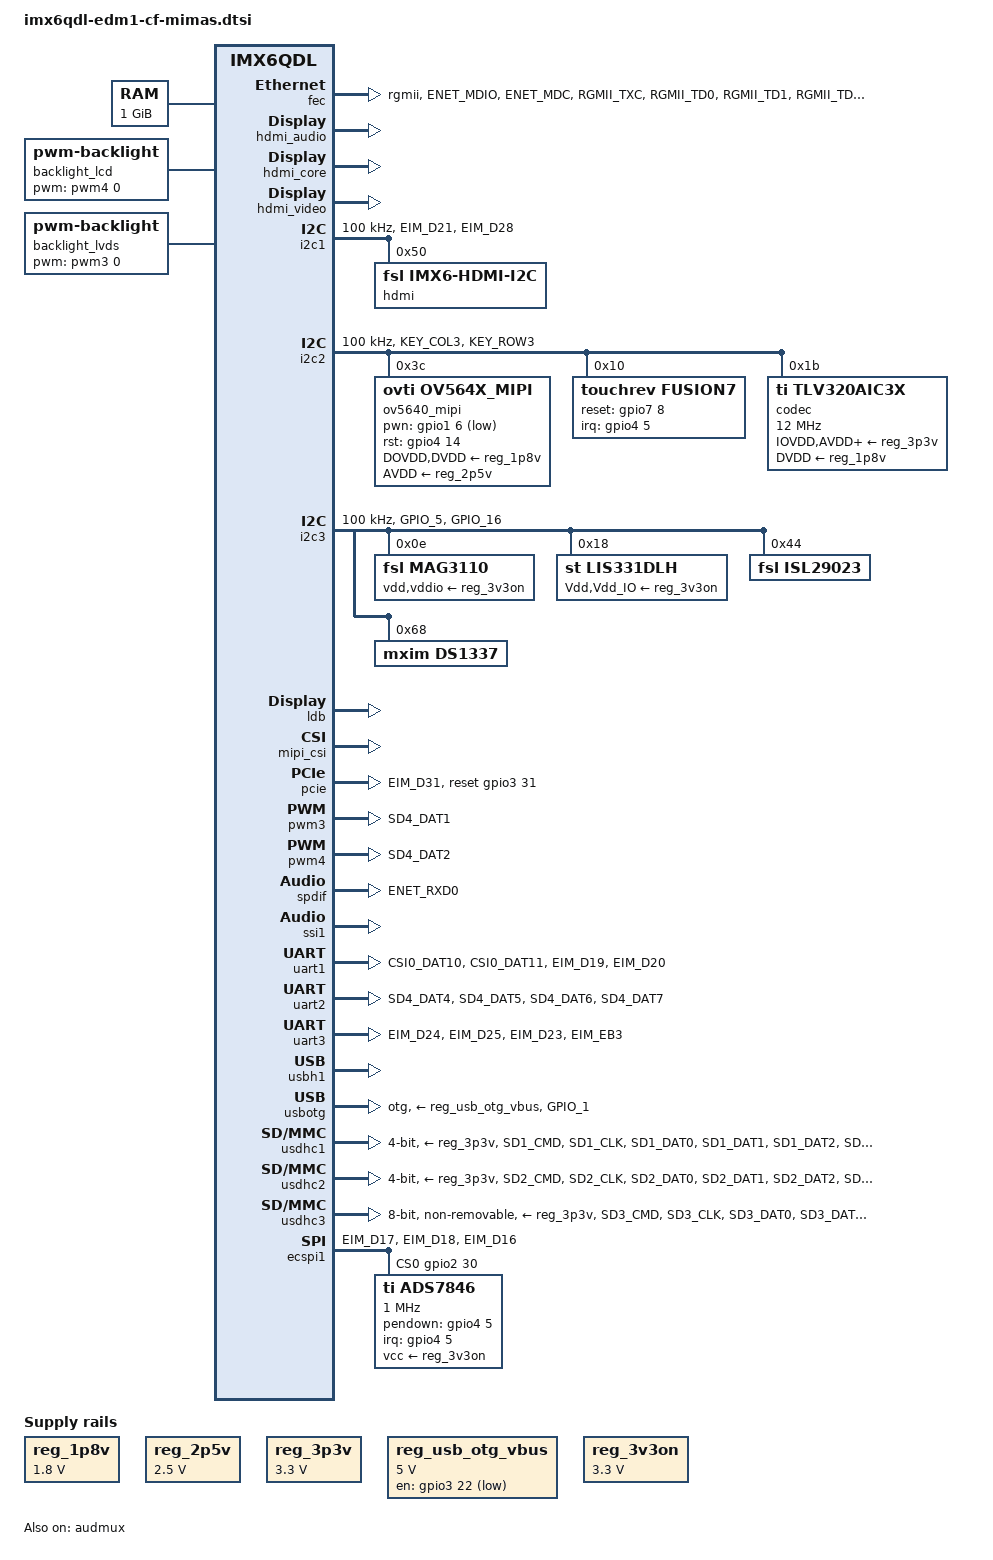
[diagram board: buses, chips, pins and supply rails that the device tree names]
/*
 * Copyright 2015 Technexion Ltd.
 *
 * Author: Richard Hu <richard.hu@technexion.com>
 *
 * This program is free software; you can redistribute it and/or modify
 * it under the terms of the GNU General Public License version 2 as
 * published by the Free Software Foundation.
 *
 */

/ {
	aliases {
		mxcfb0 = &mxcfb1;
		mxcfb1 = &mxcfb2;
		mxcfb2 = &mxcfb3;
		mxcfb3 = &mxcfb4;
	};

	memory {
		reg = <0x10000000 0x40000000>;
	};

	regulators {
		compatible = "simple-bus";

		reg_1p8v: 1p8v {
			compatible = "regulator-fixed";
			regulator-name = "1P8V";
			regulator-min-microvolt = <1800000>;
			regulator-max-microvolt = <1800000>;
			regulator-always-on;
		};

		reg_2p5v: 2p5v {
			compatible = "regulator-fixed";
			regulator-name = "2P5V";
			regulator-min-microvolt = <2500000>;
			regulator-max-microvolt = <2500000>;
			regulator-always-on;
		};

		reg_3p3v: 3p3v {
			compatible = "regulator-fixed";
			regulator-name = "3P3V";
			regulator-min-microvolt = <3300000>;
			regulator-max-microvolt = <3300000>;
			regulator-always-on;
		};

		reg_usb_otg_vbus: usb_otg_vbus {
			compatible = "regulator-fixed";
			regulator-name = "usb_otg_vbus";
			regulator-min-microvolt = <5000000>;
			regulator-max-microvolt = <5000000>;
			gpio = <&gpio3 22 0>;
		};
		
		reg_3v3on: regulator@0 {
			compatible = "regulator-fixed";
			regulator-name = "3V3ON";
			regulator-min-microvolt = <3300000>;
			regulator-max-microvolt = <3300000>;
			regulator-always-on;
		};
	};

	gpio-edm {
		compatible = "gpio-edm";
		gpio_p255 {
			label = "GPIO_P255";
			gpios = <&gpio3 12 1>;
			dir   = "in";
		};
		gpio_p256 {
			label = "GPIO_P256";
			gpios = <&gpio3 11 1>;
			dir   = "in";
		};
		gpio_p257 {
			label = "GPIO_P257";
			gpios = <&gpio3 10 1>;
			dir   = "in";
		};
		gpio_p258 {
			label = "GPIO_P258";
			gpios = <&gpio3 27 1>;
			dir   = "in";
		};
		gpio_p259 {
			label = "GPIO_P259";
			gpios = <&gpio3 26 1>;
			dir   = "in";
		};
		gpio_p260 {
			label = "GPIO_P260";
			gpios = <&gpio6 31 1>;
			dir   = "in";
		};
		gpio_p261 {
			label = "GPIO_P261";
			gpios = <&gpio3 8 1>;
			dir   = "in";
		};
		gpio_p262 {
			label = "GPIO_P262";
			gpios = <&gpio1 24 1>;
			dir   = "in";
		};
		gpio_p263 {
			label = "GPIO_P263";
			gpios = <&gpio4 5 1>;
			dir   = "in";
		};
		gpio_p264 {
			label = "GPIO_P264";
			gpios = <&gpio7 8 1>;
			dir   = "in";
		};

		bluetooth-on {
			label = "bluetooth-on";
			gpios = <&gpio5 21 1>;
			dir   = "out";
		};
		bluetooth-reg-on {
			label = "bluetooth-reg-on";
			gpios = <&gpio5 30 1>;
			dir   = "out";
		};
		bluetooth-wake {
			label = "bluetooth-wake";
			gpios = <&gpio1 30 1>;
			dir   = "in";
		};
		bluetooth-host-wake {
			label = "bluetooth-host-wake";
			gpios = <&gpio5 20 1>;
			dir   = "in";
		};

		wifi-ref-on {
			label = "wifi-ref-on";
			gpios = <&gpio5 31 1>;
			dir   = "out";
		};
		wifi-rst-n {
			label = "wifi-rst-n";
			gpios = <&gpio6 0 1>;
			dir   = "out";
		};
		wifi-reg-on {
			label = "wifi-reg-on";
			gpios = <&gpio1 26 1>;
			dir   = "out";
		};
		wifi-host-wake {
			label = "wifi-host-wake";
			gpios = <&gpio1 29 1>;
			dir   = "in";
		};
	};

	sound {
		compatible = "fsl,imx-audio-tlv320aic3x";
		model = "edm1-cf-imx6-tlv320aic3x";
		cpu-dai = <&ssi1>;
		audio-codec = <&codec>;
		clock-frequency = <12000000>;
		audio-routing =
			"Headphone Jack", "HPLOUT",
			"Headphone Jack", "HPROUT",
			"MIC3L", "Mic Bias 2V",
			"MIC3R", "Mic Bias 2V",
			"LINE1L", "Line In",
			"LINE1R", "Line In";
		mux-int-port = <1>;
		mux-ext-port = <3>;
	};
	
	sound-spdif {
                compatible = "fsl,imx-audio-spdif";
                model = "imx-spdif";
                spdif-controller = <&spdif>;
                spdif-out;
        };

	sound-hdmi {
		compatible = "fsl,imx6q-audio-hdmi",
			     "fsl,imx-audio-hdmi";
		model = "imx-audio-hdmi";
		hdmi-controller = <&hdmi_audio>;
	};

	mxcfb1: fb@0 {
		compatible = "fsl,mxc_sdc_fb";
		disp_dev = "hdmi";
		interface_pix_fmt = "RGB24";
		mode_str ="1920x1080M@60";
		default_bpp = <32>;
		int_clk = <0>;
		late_init = <0>;
		status = "disabled";
	};

	mxcfb2: fb@1 {
		compatible = "fsl,mxc_sdc_fb";
		disp_dev = "ldb";
		interface_pix_fmt = "RGB666";
		default_bpp = <24>;
		int_clk = <0>;
		late_init = <0>;
		status = "disabled";
	};

	mxcfb3: fb@2 {
		compatible = "fsl,mxc_sdc_fb";
		disp_dev = "lcd";
		interface_pix_fmt = "RGB565";
		mode_str ="CLAA-WVGA";
		default_bpp = <16>;
		int_clk = <0>;
		late_init = <0>;
		status = "disabled";
	};

	mxcfb4: fb@3 {
		compatible = "fsl,mxc_sdc_fb";
		disp_dev = "ldb";
		interface_pix_fmt = "RGB666";
		mode_str ="LDB-XGA";
		default_bpp = <16>;
		int_clk = <0>;
		late_init = <0>;
		status = "disabled";
	};

	lcd@0 {
		compatible = "fsl,lcd";
		ipu_id = <0>;
		disp_id = <0>;
		default_ifmt = "RGB565";
		pinctrl-names = "default";
		pinctrl-0 = <&pinctrl_ipu1_1>;
		status = "okay";
	};

	backlight_lcd {
		compatible = "pwm-backlight";
		pwms = <&pwm4 0 5000000>;
		brightness-levels = <0 4 8 16 32 64 128 255>;
		default-brightness-level = <7>;
	};

	backlight_lvds {
		compatible = "pwm-backlight";
		pwms = <&pwm3 0 5000000>;
		brightness-levels = <0 4 8 16 32 64 128 255>;
		default-brightness-level = <7>;
	};

	v4l2_cap_0 {
		compatible = "fsl,imx6q-v4l2-capture";
		ipu_id = <0>;
		csi_id = <0>;
		mclk_source = <0>;
		status = "okay";
	};

	v4l2_out {
		compatible = "fsl,mxc_v4l2_output";
		status = "okay";
	};

};


&audmux {
	pinctrl-names = "default";
	pinctrl-0 = <&pinctrl_audmux_2>;
	status = "okay";
};


&clks {
    fsl,ldb-di0-parent = <&clks IMX6QDL_CLK_PLL2_PFD0_352M>;
    fsl,ldb-di1-parent = <&clks IMX6QDL_CLK_PLL2_PFD0_352M>;
};

&fec {
	pinctrl-names = "default";
	pinctrl-0 = <&pinctrl_enet_3>;
	phy-mode = "rgmii";
	status = "okay";
};

&hdmi_audio {
	status = "okay";
};

&hdmi_core {
	ipu_id = <0>;
	disp_id = <0>;
	status = "okay";
};

&hdmi_video {
	fsl,phy_reg_vlev = <0x0294>;
	fsl,phy_reg_cksymtx = <0x800d>;
	status = "okay";
};

&i2c1 {
	clock-frequency = <100000>;
	pinctrl-names = "default";
	pinctrl-0 = <&pinctrl_i2c1_1>;
	status = "okay";

	hdmi: edid@50 {
		compatible = "fsl,imx6-hdmi-i2c";
		reg = <0x50>;
	};

};

&i2c2 {
	clock-frequency = <100000>;
	pinctrl-names = "default";
	pinctrl-0 = <&pinctrl_i2c2_2>;
	status = "okay";

	ov5640_mipi: ov5640_mipi@3c {
		compatible = "ovti,ov564x_mipi";
		reg = <0x3c>;
		clocks = <&clks 200>;
		clock-names = "csi_mclk";
		DOVDD-supply = <&reg_1p8v>;
		AVDD-supply = <&reg_2p5v>;
		DVDD-supply = <&reg_1p8v>;
		pwn-gpios = <&gpio1 6 1>;
		rst-gpios = <&gpio4 14 0>;
		ipu_id = <0>;
		csi_id = <0>;
		mclk = <24000000>;
		mclk_source = <0>;
	};

	fusion7: fusion7@10 {
		compatible = "touchrev,fusion7";
		reg = <0x10>; /* The reg property describes the address of the device's resources within the address space defined by its parent bus.  */
		pinctrl-0 = <&pinctrl_gpio>;
		pinctrl-names = "default";
		interrupt-parent = <&gpio4>;
		interrupts = <5 0>;
		reset-gpios=<&gpio7 8 0>; /*pin264  SD3_RST GPIO(7, 8)   gpio200   Touchscreen Reset  Output*/
		touch_xmax=<1499>;
		touch_ymax=<899>;
		flip_x=<0>;
		flip_y=<0>;
	};
	
	codec: tlv320aic3x@1b {
		compatible = "ti,tlv320aic3x";
		reg = <0x1b>;
		clocks = <&clks 201>;
		clock-frequency = <12000000>;
		IOVDD-supply = <&reg_3p3v>;
		DVDD-supply = <&reg_1p8v>;
		AVDD-supply = <&reg_3p3v>;
		DRVDD-supply = <&reg_3p3v>;
	};

};

&i2c3 {
		clock-frequency = <100000>;
		pinctrl-names = "default";
		pinctrl-0 = <&pinctrl_i2c3_3>;
		status = "okay";

		mag3110@0e {
			compatible = "fsl,mag3110";
			reg = <0x0e>;
			position = <2>;
			vdd-supply = <&reg_3v3on>;
			vddio-supply = <&reg_3v3on>;
		};

		lis331dlh: lis331dlh@18 {
			compatible = "st,lis331dlh", "st,lis3lv02d";
			reg = <0x18>;
			Vdd-supply = <&reg_3v3on>;
			Vdd_IO-supply = <&reg_3v3on>;

			st,click-single-x;
			st,click-single-y;
			st,click-single-z;
			st,click-thresh-x = <10>;
			st,click-thresh-y = <10>;
			st,click-thresh-z = <10>;
			st,irq1-click;
			st,irq2-click;
			st,wakeup-x-lo;
			st,wakeup-x-hi;
			st,wakeup-y-lo;
			st,wakeup-y-hi;
			st,wakeup-z-lo;
			st,wakeup-z-hi;
			st,min-limit-x = <120>;
			st,min-limit-y = <120>;
			st,min-limit-z = <140>;
			st,max-limit-x = <550>;
			st,max-limit-y = <550>;
			st,max-limit-z = <750>;
		};

		isl29023@44 {
			compatible = "fsl,isl29023";
			reg = <0x44>;
			rext = <499>;
			};

		ds1337: rtc@68 {
			compatible = "mxim,ds1337";
			reg = <0x68>;
		};

};

/*
For reference here, the PAD_CTL bitfield definition from
Documentation/devicetree/bindings/pinctrl/fsl,imx6q-pinctrl.txt

CONFIG bits definition:
PAD_CTL_HYS                     (1 << 16)
PAD_CTL_PUS_100K_DOWN           (0 << 14)
PAD_CTL_PUS_47K_UP              (1 << 14)
PAD_CTL_PUS_100K_UP             (2 << 14)
PAD_CTL_PUS_22K_UP              (3 << 14)
PAD_CTL_PUE                     (1 << 13)
PAD_CTL_PKE                     (1 << 12)
PAD_CTL_ODE                     (1 << 11)
PAD_CTL_SPEED_LOW               (1 << 6)
PAD_CTL_SPEED_MED               (2 << 6)
PAD_CTL_SPEED_HIGH              (3 << 6)
PAD_CTL_DSE_DISABLE             (0 << 3)
PAD_CTL_DSE_240ohm              (1 << 3)
PAD_CTL_DSE_120ohm              (2 << 3)
PAD_CTL_DSE_80ohm               (3 << 3)
PAD_CTL_DSE_60ohm               (4 << 3)
PAD_CTL_DSE_48ohm               (5 << 3)
PAD_CTL_DSE_40ohm               (6 << 3)
PAD_CTL_DSE_34ohm               (7 << 3)
PAD_CTL_SRE_FAST                (1 << 0)
PAD_CTL_SRE_SLOW                (0 << 0)

Example, the Control Pad Setting

    0x0f0b0

corresponds to:

   0b1111000010110000

which is:

   PAD_CTL_PUS_22K_UP | PAD_CTL_PUE | PAD_CTL_PKE |
   PAD_CTL_SPEED_MED | PAD_CTL_DSE_40ohm

For more information about this, refer to the IOMUXC section of the i.MX6
reference manual.

*/

&iomuxc {

	pinctrl-names = "default";
	pinctrl-0 = <&pinctrl_hog_1>;

	audmux {
		pinctrl_audmux_1: audmux-1 {
			fsl,pins = <
				MX6QDL_PAD_SD2_DAT0__AUD4_RXD  0x130b0
				MX6QDL_PAD_SD2_DAT3__AUD4_TXC  0x130b0
				MX6QDL_PAD_SD2_DAT2__AUD4_TXD  0x110b0
				MX6QDL_PAD_SD2_DAT1__AUD4_TXFS 0x130b0
			>;
		};

		pinctrl_audmux_2: audmux-2 {
			fsl,pins = <
				MX6QDL_PAD_CSI0_DAT7__AUD3_RXD  0x130b0
				MX6QDL_PAD_CSI0_DAT4__AUD3_TXC  0x130b0
				MX6QDL_PAD_CSI0_DAT5__AUD3_TXD  0x110b0
				MX6QDL_PAD_CSI0_DAT6__AUD3_TXFS 0x130b0
			>;
		};

		pinctrl_audmux_3: audmux-3 {
			fsl,pins = <
				MX6QDL_PAD_DISP0_DAT16__AUD5_TXC  0x130b0
				MX6QDL_PAD_DISP0_DAT18__AUD5_TXFS 0x130b0
				MX6QDL_PAD_DISP0_DAT19__AUD5_RXD  0x130b0
			>;
		};
	};

	ecspi1 {
		pinctrl_ecspi1_cs_1: ecspi1_cs_grp-1 {
			fsl,pins = <
				MX6QDL_PAD_EIM_D19__GPIO3_IO19 0x80000000
			>;
		};

		pinctrl_ecspi1_1: ecspi1grp-1 {
			fsl,pins = <
				MX6QDL_PAD_EIM_D17__ECSPI1_MISO 0x100b1
				MX6QDL_PAD_EIM_D18__ECSPI1_MOSI 0x100b1
				MX6QDL_PAD_EIM_D16__ECSPI1_SCLK 0x100b1
			>;
		};

		pinctrl_ecspi1_2: ecspi1grp-2 {
			fsl,pins = <
				MX6QDL_PAD_KEY_COL1__ECSPI1_MISO 0x100b1
				MX6QDL_PAD_KEY_ROW0__ECSPI1_MOSI 0x100b1
				MX6QDL_PAD_KEY_COL0__ECSPI1_SCLK 0x100b1
			>;
		};
	};

	ecspi3 {
		pinctrl_ecspi3_1: ecspi3grp-1 {
			fsl,pins = <
				MX6QDL_PAD_DISP0_DAT2__ECSPI3_MISO 0x100b1
				MX6QDL_PAD_DISP0_DAT1__ECSPI3_MOSI 0x100b1
				MX6QDL_PAD_DISP0_DAT0__ECSPI3_SCLK 0x100b1
			>;
		};
	};

	enet {
		pinctrl_enet_1: enetgrp-1 {
			fsl,pins = <
				MX6QDL_PAD_ENET_MDIO__ENET_MDIO       0x1b0b0
				MX6QDL_PAD_ENET_MDC__ENET_MDC         0x1b0b0
				MX6QDL_PAD_RGMII_TXC__RGMII_TXC       0x1b0b0
				MX6QDL_PAD_RGMII_TD0__RGMII_TD0       0x1b0b0
				MX6QDL_PAD_RGMII_TD1__RGMII_TD1       0x1b0b0
				MX6QDL_PAD_RGMII_TD2__RGMII_TD2       0x1b0b0
				MX6QDL_PAD_RGMII_TD3__RGMII_TD3       0x1b0b0
				MX6QDL_PAD_RGMII_TX_CTL__RGMII_TX_CTL 0x1b0b0
				MX6QDL_PAD_ENET_REF_CLK__ENET_TX_CLK  0x1b0b0
				MX6QDL_PAD_RGMII_RXC__RGMII_RXC       0x1b0b0
				MX6QDL_PAD_RGMII_RD0__RGMII_RD0       0x1b0b0
				MX6QDL_PAD_RGMII_RD1__RGMII_RD1       0x1b0b0
				MX6QDL_PAD_RGMII_RD2__RGMII_RD2       0x1b0b0
				MX6QDL_PAD_RGMII_RD3__RGMII_RD3       0x1b0b0
				MX6QDL_PAD_RGMII_RX_CTL__RGMII_RX_CTL 0x1b0b0
				MX6QDL_PAD_GPIO_16__ENET_REF_CLK      0x4001b0a8
			>;
		};

		pinctrl_enet_2: enetgrp-2 {
			fsl,pins = <
				MX6QDL_PAD_KEY_COL1__ENET_MDIO        0x1b0b0
				MX6QDL_PAD_KEY_COL2__ENET_MDC         0x1b0b0
				MX6QDL_PAD_RGMII_TXC__RGMII_TXC       0x1b0b0
				MX6QDL_PAD_RGMII_TD0__RGMII_TD0       0x1b0b0
				MX6QDL_PAD_RGMII_TD1__RGMII_TD1       0x1b0b0
				MX6QDL_PAD_RGMII_TD2__RGMII_TD2       0x1b0b0
				MX6QDL_PAD_RGMII_TD3__RGMII_TD3       0x1b0b0
				MX6QDL_PAD_RGMII_TX_CTL__RGMII_TX_CTL 0x1b0b0
				MX6QDL_PAD_ENET_REF_CLK__ENET_TX_CLK  0x1b0b0
				MX6QDL_PAD_RGMII_RXC__RGMII_RXC       0x1b0b0
				MX6QDL_PAD_RGMII_RD0__RGMII_RD0       0x1b0b0
				MX6QDL_PAD_RGMII_RD1__RGMII_RD1       0x1b0b0
				MX6QDL_PAD_RGMII_RD2__RGMII_RD2       0x1b0b0
				MX6QDL_PAD_RGMII_RD3__RGMII_RD3       0x1b0b0
				MX6QDL_PAD_RGMII_RX_CTL__RGMII_RX_CTL 0x1b0b0
				MX6QDL_PAD_GPIO_16__ENET_REF_CLK      0x4001b0a8
			>;
		};

		pinctrl_enet_3: enetgrp-3 {
			fsl,pins = <
				MX6QDL_PAD_ENET_MDIO__ENET_MDIO       0x1b0b0
				MX6QDL_PAD_ENET_MDC__ENET_MDC         0x1b0b0
				MX6QDL_PAD_RGMII_TXC__RGMII_TXC       0x1b0b0
				MX6QDL_PAD_RGMII_TD0__RGMII_TD0       0x1b0b0
				MX6QDL_PAD_RGMII_TD1__RGMII_TD1       0x1b0b0
				MX6QDL_PAD_RGMII_TD2__RGMII_TD2       0x1b0b0
				MX6QDL_PAD_RGMII_TD3__RGMII_TD3       0x1b0b0
				MX6QDL_PAD_RGMII_TX_CTL__RGMII_TX_CTL 0x1b0b0
				MX6QDL_PAD_ENET_REF_CLK__ENET_TX_CLK  0x1b0b0
				MX6QDL_PAD_RGMII_RXC__RGMII_RXC       0x1b0b0
				MX6QDL_PAD_RGMII_RD0__RGMII_RD0       0x1b0b0
				MX6QDL_PAD_RGMII_RD1__RGMII_RD1       0x1b0b0
				MX6QDL_PAD_RGMII_RD2__RGMII_RD2       0x1b0b0
				MX6QDL_PAD_RGMII_RD3__RGMII_RD3       0x1b0b0
				MX6QDL_PAD_RGMII_RX_CTL__RGMII_RX_CTL 0x1b0b0
				MX6QDL_PAD_ENET_TX_EN__ENET_TX_EN     0x1b0b0
			>;
		};

		pinctrl_enet_irq: enetirqgrp {
			fsl,pins = <
				MX6QDL_PAD_GPIO_6__ENET_IRQ	      0x000b1
			>;
		};
	};

	esai {
		pinctrl_esai_1: esaigrp-1 {
			fsl,pins = <
				MX6QDL_PAD_ENET_RXD0__ESAI_TX_HF_CLK 0x1b030
				MX6QDL_PAD_ENET_CRS_DV__ESAI_TX_CLK  0x1b030
				MX6QDL_PAD_ENET_RXD1__ESAI_TX_FS     0x1b030
				MX6QDL_PAD_ENET_TX_EN__ESAI_TX3_RX2  0x1b030
				MX6QDL_PAD_ENET_TXD1__ESAI_TX2_RX3   0x1b030
				MX6QDL_PAD_ENET_TXD0__ESAI_TX4_RX1   0x1b030
				MX6QDL_PAD_ENET_MDC__ESAI_TX5_RX0    0x1b030
				MX6QDL_PAD_NANDF_CS2__ESAI_TX0       0x1b030
				MX6QDL_PAD_NANDF_CS3__ESAI_TX1       0x1b030
			>;
		};

		pinctrl_esai_2: esaigrp-2 {
			fsl,pins = <
				MX6QDL_PAD_ENET_CRS_DV__ESAI_TX_CLK 0x1b030
				MX6QDL_PAD_ENET_RXD1__ESAI_TX_FS    0x1b030
				MX6QDL_PAD_ENET_TX_EN__ESAI_TX3_RX2 0x1b030
				MX6QDL_PAD_GPIO_5__ESAI_TX2_RX3     0x1b030
				MX6QDL_PAD_ENET_TXD0__ESAI_TX4_RX1  0x1b030
				MX6QDL_PAD_ENET_MDC__ESAI_TX5_RX0   0x1b030
				MX6QDL_PAD_GPIO_17__ESAI_TX0        0x1b030
				MX6QDL_PAD_NANDF_CS3__ESAI_TX1      0x1b030
				MX6QDL_PAD_ENET_MDIO__ESAI_RX_CLK   0x1b030
				MX6QDL_PAD_GPIO_9__ESAI_RX_FS       0x1b030
			>;
		};
	};

	flexcan1 {
		pinctrl_flexcan1_1: flexcan1grp-1 {
			fsl,pins = <
				MX6QDL_PAD_KEY_ROW2__FLEXCAN1_RX 0x80000000
				MX6QDL_PAD_KEY_COL2__FLEXCAN1_TX 0x80000000
			>;
		};

		pinctrl_flexcan1_2: flexcan1grp-2 {
			fsl,pins = <
				MX6QDL_PAD_GPIO_7__FLEXCAN1_TX   0x80000000
				MX6QDL_PAD_KEY_ROW2__FLEXCAN1_RX 0x80000000
			>;
		};
	};

	flexcan2 {
		pinctrl_flexcan2_1: flexcan2grp-1 {
			fsl,pins = <
				MX6QDL_PAD_KEY_COL4__FLEXCAN2_TX 0x80000000
				MX6QDL_PAD_KEY_ROW4__FLEXCAN2_RX 0x80000000
			>;
		};
	};

	gpmi-nand {
		pinctrl_gpmi_nand_1: gpmi-nand-1 {
			fsl,pins = <
				MX6QDL_PAD_NANDF_CLE__NAND_CLE     0xb0b1
				MX6QDL_PAD_NANDF_ALE__NAND_ALE     0xb0b1
				MX6QDL_PAD_NANDF_WP_B__NAND_WP_B   0xb0b1
				MX6QDL_PAD_NANDF_RB0__NAND_READY_B 0xb000
				MX6QDL_PAD_NANDF_CS0__NAND_CE0_B   0xb0b1
				MX6QDL_PAD_NANDF_CS1__NAND_CE1_B   0xb0b1
				MX6QDL_PAD_SD4_CMD__NAND_RE_B      0xb0b1
				MX6QDL_PAD_SD4_CLK__NAND_WE_B      0xb0b1
				MX6QDL_PAD_NANDF_D0__NAND_DATA00   0xb0b1
				MX6QDL_PAD_NANDF_D1__NAND_DATA01   0xb0b1
				MX6QDL_PAD_NANDF_D2__NAND_DATA02   0xb0b1
				MX6QDL_PAD_NANDF_D3__NAND_DATA03   0xb0b1
				MX6QDL_PAD_NANDF_D4__NAND_DATA04   0xb0b1
				MX6QDL_PAD_NANDF_D5__NAND_DATA05   0xb0b1
				MX6QDL_PAD_NANDF_D6__NAND_DATA06   0xb0b1
				MX6QDL_PAD_NANDF_D7__NAND_DATA07   0xb0b1
				MX6QDL_PAD_SD4_DAT0__NAND_DQS      0x00b1
			>;
		};
	};

	hdmi_hdcp {
		pinctrl_hdmi_hdcp_1: hdmihdcpgrp-1 {
			fsl,pins = <
				MX6QDL_PAD_KEY_COL3__HDMI_TX_DDC_SCL 0x4001b8b1
				MX6QDL_PAD_KEY_ROW3__HDMI_TX_DDC_SDA 0x4001b8b1
			>;
		};

		pinctrl_hdmi_hdcp_2: hdmihdcpgrp-2 {
			fsl,pins = <
				MX6QDL_PAD_EIM_EB2__HDMI_TX_DDC_SCL 0x4001b8b1
				MX6QDL_PAD_EIM_D16__HDMI_TX_DDC_SDA 0x4001b8b1
			>;
		};

		pinctrl_hdmi_hdcp_3: hdmihdcpgrp-3 {
			fsl,pins = <
				MX6QDL_PAD_EIM_EB2__HDMI_TX_DDC_SCL  0x4001b8b1
				MX6QDL_PAD_KEY_ROW3__HDMI_TX_DDC_SDA 0x4001b8b1
			>;
		};
	};

	hdmi_cec {
		pinctrl_hdmi_cec_1: hdmicecgrp-1 {
			fsl,pins = <
				MX6QDL_PAD_EIM_A25__HDMI_TX_CEC_LINE 0x1f8b0
			>;
		};

		pinctrl_hdmi_cec_2: hdmicecgrp-2 {
			fsl,pins = <
				MX6QDL_PAD_KEY_ROW2__HDMI_TX_CEC_LINE 0x1f8b0
			>;
		};
	};

	i2c1 {
		pinctrl_i2c1_1: i2c1grp-1 {
			fsl,pins = <
				MX6QDL_PAD_EIM_D21__I2C1_SCL 0x4001b8b1
				MX6QDL_PAD_EIM_D28__I2C1_SDA 0x4001b8b1
			>;
		};

		pinctrl_i2c1_2: i2c1grp-2 {
			fsl,pins = <
				MX6QDL_PAD_CSI0_DAT8__I2C1_SDA 0x4001b8b1
				MX6QDL_PAD_CSI0_DAT9__I2C1_SCL 0x4001b8b1
			>;
		};
	};

	i2c2 {
		pinctrl_i2c2_1: i2c2grp-1 {
			fsl,pins = <
				MX6QDL_PAD_EIM_EB2__I2C2_SCL 0x4001b8b1
				MX6QDL_PAD_EIM_D16__I2C2_SDA 0x4001b8b1
			>;
		};

		pinctrl_i2c2_2: i2c2grp-2 {
			fsl,pins = <
				MX6QDL_PAD_KEY_COL3__I2C2_SCL 0x4001b8b1
				MX6QDL_PAD_KEY_ROW3__I2C2_SDA 0x4001b8b1
			>;
		};

		pinctrl_i2c2_3: i2c2grp-3 {
			fsl,pins = <
				MX6QDL_PAD_EIM_EB2__I2C2_SCL  0x4001b8b1
				MX6QDL_PAD_KEY_ROW3__I2C2_SDA 0x4001b8b1
			>;
		};
	};

	i2c3 {
		pinctrl_i2c3_1: i2c3grp-1 {
			fsl,pins = <
				MX6QDL_PAD_EIM_D17__I2C3_SCL 0x4001b8b1
				MX6QDL_PAD_EIM_D18__I2C3_SDA 0x4001b8b1
			>;
		};

		pinctrl_i2c3_2: i2c3grp-2 {
			fsl,pins = <
				MX6QDL_PAD_GPIO_3__I2C3_SCL 0x4001b8b1
				MX6QDL_PAD_GPIO_6__I2C3_SDA 0x4001b8b1
			>;
		};

		pinctrl_i2c3_3: i2c3grp-3 {
			fsl,pins = <
				MX6QDL_PAD_GPIO_5__I2C3_SCL  0x4001b8b1
				MX6QDL_PAD_GPIO_16__I2C3_SDA 0x4001b8b1
			>;
		};

		pinctrl_i2c3_4: i2c3grp-4 {
			fsl,pins = <
				MX6QDL_PAD_GPIO_3__I2C3_SCL  0x4001b8b1
				MX6QDL_PAD_EIM_D18__I2C3_SDA 0x4001b8b1
			>;
		};
	};

	ipu1 {
		pinctrl_ipu1_1: ipu1grp-1 {
			fsl,pins = <
				MX6QDL_PAD_DI0_DISP_CLK__IPU1_DI0_DISP_CLK 0x10
				MX6QDL_PAD_DI0_PIN15__IPU1_DI0_PIN15       0x10
				MX6QDL_PAD_DI0_PIN2__IPU1_DI0_PIN02        0x10
				MX6QDL_PAD_DI0_PIN3__IPU1_DI0_PIN03        0x10
				MX6QDL_PAD_DI0_PIN4__IPU1_DI0_PIN04        0x80000000
				MX6QDL_PAD_DISP0_DAT0__IPU1_DISP0_DATA00   0x10
				MX6QDL_PAD_DISP0_DAT1__IPU1_DISP0_DATA01   0x10
				MX6QDL_PAD_DISP0_DAT2__IPU1_DISP0_DATA02   0x10
				MX6QDL_PAD_DISP0_DAT3__IPU1_DISP0_DATA03   0x10
				MX6QDL_PAD_DISP0_DAT4__IPU1_DISP0_DATA04   0x10
				MX6QDL_PAD_DISP0_DAT5__IPU1_DISP0_DATA05   0x10
				MX6QDL_PAD_DISP0_DAT6__IPU1_DISP0_DATA06   0x10
				MX6QDL_PAD_DISP0_DAT7__IPU1_DISP0_DATA07   0x10
				MX6QDL_PAD_DISP0_DAT8__IPU1_DISP0_DATA08   0x10
				MX6QDL_PAD_DISP0_DAT9__IPU1_DISP0_DATA09   0x10
				MX6QDL_PAD_DISP0_DAT10__IPU1_DISP0_DATA10  0x10
				MX6QDL_PAD_DISP0_DAT11__IPU1_DISP0_DATA11  0x10
				MX6QDL_PAD_DISP0_DAT12__IPU1_DISP0_DATA12  0x10
				MX6QDL_PAD_DISP0_DAT13__IPU1_DISP0_DATA13  0x10
				MX6QDL_PAD_DISP0_DAT14__IPU1_DISP0_DATA14  0x10
				MX6QDL_PAD_DISP0_DAT15__IPU1_DISP0_DATA15  0x10
				MX6QDL_PAD_DISP0_DAT16__IPU1_DISP0_DATA16  0x10
				MX6QDL_PAD_DISP0_DAT17__IPU1_DISP0_DATA17  0x10
				MX6QDL_PAD_DISP0_DAT18__IPU1_DISP0_DATA18  0x10
				MX6QDL_PAD_DISP0_DAT19__IPU1_DISP0_DATA19  0x10
				MX6QDL_PAD_DISP0_DAT20__IPU1_DISP0_DATA20  0x10
				MX6QDL_PAD_DISP0_DAT21__IPU1_DISP0_DATA21  0x10
				MX6QDL_PAD_DISP0_DAT22__IPU1_DISP0_DATA22  0x10
				MX6QDL_PAD_DISP0_DAT23__IPU1_DISP0_DATA23  0x10
			>;
		};

		pinctrl_ipu1_2: ipu1grp-2 { /* parallel camera */
			fsl,pins = <
				MX6QDL_PAD_CSI0_DAT12__IPU1_CSI0_DATA12    0x80000000
				MX6QDL_PAD_CSI0_DAT13__IPU1_CSI0_DATA13    0x80000000
				MX6QDL_PAD_CSI0_DAT14__IPU1_CSI0_DATA14    0x80000000
				MX6QDL_PAD_CSI0_DAT15__IPU1_CSI0_DATA15    0x80000000
				MX6QDL_PAD_CSI0_DAT16__IPU1_CSI0_DATA16    0x80000000
				MX6QDL_PAD_CSI0_DAT17__IPU1_CSI0_DATA17    0x80000000
				MX6QDL_PAD_CSI0_DAT18__IPU1_CSI0_DATA18    0x80000000
				MX6QDL_PAD_CSI0_DAT19__IPU1_CSI0_DATA19    0x80000000
				MX6QDL_PAD_CSI0_DATA_EN__IPU1_CSI0_DATA_EN 0x80000000
				MX6QDL_PAD_CSI0_PIXCLK__IPU1_CSI0_PIXCLK   0x80000000
				MX6QDL_PAD_CSI0_MCLK__IPU1_CSI0_HSYNC      0x80000000
				MX6QDL_PAD_CSI0_VSYNC__IPU1_CSI0_VSYNC     0x80000000
			>;
		};

		pinctrl_ipu1_3: ipu1grp-3 { /* parallel port 16-bit */
			fsl,pins = <
				MX6QDL_PAD_CSI0_DAT4__IPU1_CSI0_DATA04   0x80000000
				MX6QDL_PAD_CSI0_DAT5__IPU1_CSI0_DATA05   0x80000000
				MX6QDL_PAD_CSI0_DAT6__IPU1_CSI0_DATA06   0x80000000
				MX6QDL_PAD_CSI0_DAT7__IPU1_CSI0_DATA07   0x80000000
				MX6QDL_PAD_CSI0_DAT8__IPU1_CSI0_DATA08   0x80000000
				MX6QDL_PAD_CSI0_DAT9__IPU1_CSI0_DATA09   0x80000000
				MX6QDL_PAD_CSI0_DAT10__IPU1_CSI0_DATA10  0x80000000
				MX6QDL_PAD_CSI0_DAT11__IPU1_CSI0_DATA11  0x80000000
				MX6QDL_PAD_CSI0_DAT12__IPU1_CSI0_DATA12  0x80000000
				MX6QDL_PAD_CSI0_DAT13__IPU1_CSI0_DATA13  0x80000000
				MX6QDL_PAD_CSI0_DAT14__IPU1_CSI0_DATA14  0x80000000
				MX6QDL_PAD_CSI0_DAT15__IPU1_CSI0_DATA15  0x80000000
				MX6QDL_PAD_CSI0_DAT16__IPU1_CSI0_DATA16  0x80000000
				MX6QDL_PAD_CSI0_DAT17__IPU1_CSI0_DATA17  0x80000000
				MX6QDL_PAD_CSI0_DAT18__IPU1_CSI0_DATA18  0x80000000
				MX6QDL_PAD_CSI0_DAT19__IPU1_CSI0_DATA19  0x80000000
				MX6QDL_PAD_CSI0_PIXCLK__IPU1_CSI0_PIXCLK 0x80000000
				MX6QDL_PAD_CSI0_MCLK__IPU1_CSI0_HSYNC    0x80000000
				MX6QDL_PAD_CSI0_VSYNC__IPU1_CSI0_VSYNC   0x80000000
			>;
		};
	};

	mlb {
		pinctrl_mlb_1: mlbgrp-1 {
			fsl,pins = <
				MX6QDL_PAD_GPIO_3__MLB_CLK  0x71
				MX6QDL_PAD_GPIO_6__MLB_SIG  0x71
				MX6QDL_PAD_GPIO_2__MLB_DATA 0x71
			>;
		};

		pinctrl_mlb_2: mlbgrp-2 {
			fsl,pins = <
				MX6QDL_PAD_ENET_TXD1__MLB_CLK 0x80000000
				MX6QDL_PAD_GPIO_6__MLB_SIG    0x80000000
				MX6QDL_PAD_GPIO_2__MLB_DATA   0x80000000
			>;
		};
	};

	pwm1 {
		pinctrl_pwm1_1: pwm1grp-1 {
			fsl,pins = <
				MX6QDL_PAD_SD1_DAT3__PWM1_OUT 0x1b0b1
			>;
		};
	};

	pwm3 {
		pinctrl_pwm3_1: pwm3grp-1 {
			fsl,pins = <
				MX6QDL_PAD_SD4_DAT1__PWM3_OUT 0x1b0b1
			>;
		};
	};

	spdif {
		pinctrl_spdif_1: spdifgrp-1 {
			fsl,pins = <
				MX6QDL_PAD_KEY_COL3__SPDIF_IN 0x1b0b0
			>;
		};

		pinctrl_spdif_2: spdifgrp-2 {
			fsl,pins = <
				MX6QDL_PAD_GPIO_16__SPDIF_IN  0x1b0b0
				MX6QDL_PAD_GPIO_17__SPDIF_OUT 0x1b0b0
			>;
		};
	};

	uart1 {
		pinctrl_uart1_1: uart1grp-1 {
			fsl,pins = <
				MX6QDL_PAD_CSI0_DAT10__UART1_TX_DATA 0x1b0b1
				MX6QDL_PAD_CSI0_DAT11__UART1_RX_DATA 0x1b0b1
			>;
		};

		pinctrl_uart1_2: uart1grp-2 {
			fsl,pins = <
				MX6QDL_PAD_CSI0_DAT10__UART1_TX_DATA 0x1b0b1
				MX6QDL_PAD_CSI0_DAT11__UART1_RX_DATA 0x1b0b1
				MX6QDL_PAD_EIM_D19__UART1_CTS_B 0x1b0b1
				MX6QDL_PAD_EIM_D20__UART1_RTS_B 0x1b0b1
			>;
		};
	};

	uart2 {
		pinctrl_uart2_1: uart2grp-1 {
			fsl,pins = <
				MX6QDL_PAD_EIM_D26__UART2_TX_DATA 0x1b0b1
				MX6QDL_PAD_EIM_D27__UART2_RX_DATA 0x1b0b1
			>;
		};

		pinctrl_uart2_2: uart2grp-2 {
			fsl,pins = <
				MX6QDL_PAD_SD4_DAT4__UART2_RX_DATA 0x1b0b1
				MX6QDL_PAD_SD4_DAT5__UART2_RTS_B 0x1b0b1
				MX6QDL_PAD_SD4_DAT6__UART2_CTS_B 0x1b0b1
				MX6QDL_PAD_SD4_DAT7__UART2_TX_DATA 0x1b0b1
			>;
		};
	};

	uart3 {
		pinctrl_uart3_1: uart3grp-1 {
			fsl,pins = <
				MX6QDL_PAD_SD4_CLK__UART3_RX_DATA 0x1b0b1
				MX6QDL_PAD_SD4_CMD__UART3_TX_DATA 0x1b0b1
				MX6QDL_PAD_EIM_D30__UART3_CTS_B   0x1b0b1
				MX6QDL_PAD_EIM_EB3__UART3_RTS_B   0x1b0b1
			>;
		};

		pinctrl_uart3dte_1: uart3dtegrp-1 {
			fsl,pins = <
				MX6QDL_PAD_SD4_CLK__UART3_TX_DATA 0x1b0b1
				MX6QDL_PAD_SD4_CMD__UART3_RX_DATA 0x1b0b1
				MX6QDL_PAD_EIM_D30__UART3_RTS_B   0x1b0b1
				MX6QDL_PAD_EIM_EB3__UART3_CTS_B   0x1b0b1
			>;
		};

		pinctrl_uart3_2: uart3grp-2 {
		fsl,pins = <
				MX6QDL_PAD_EIM_D24__UART3_TX_DATA 0x1b0b1
				MX6QDL_PAD_EIM_D25__UART3_RX_DATA 0x1b0b1
				MX6QDL_PAD_EIM_D23__UART3_CTS_B   0x1b0b1
				MX6QDL_PAD_EIM_EB3__UART3_RTS_B   0x1b0b1
		>;
		};
	};

	uart4 {
		pinctrl_uart4_1: uart4grp-1 {
			fsl,pins = <
				MX6QDL_PAD_KEY_COL0__UART4_TX_DATA 0x1b0b1
				MX6QDL_PAD_KEY_ROW0__UART4_RX_DATA 0x1b0b1
			>;
		};
	};

	uart5 {
		pinctrl_uart5_1: uart5grp-1 {
			fsl,pins = <
				MX6QDL_PAD_KEY_COL1__UART5_TX_DATA 0x1b0b1
				MX6QDL_PAD_KEY_ROW1__UART5_RX_DATA 0x1b0b1
				MX6QDL_PAD_KEY_COL4__UART5_RTS_B   0x1b0b1
				MX6QDL_PAD_KEY_ROW4__UART5_CTS_B   0x1b0b1
			>;
		};

		pinctrl_uart5dte_1: uart5dtegrp-1 {
			fsl,pins = <
				MX6QDL_PAD_KEY_ROW1__UART5_TX_DATA 0x1b0b1
				MX6QDL_PAD_KEY_COL1__UART5_RX_DATA 0x1b0b1
				MX6QDL_PAD_KEY_ROW4__UART5_RTS_B   0x1b0b1
				MX6QDL_PAD_KEY_COL4__UART5_CTS_B   0x1b0b1
			>;
		};
	};

	usbotg {
		pinctrl_usbotg_1: usbotggrp-1 {
			fsl,pins = <
				MX6QDL_PAD_GPIO_1__USB_OTG_ID 0x17059
			>;
		};

		pinctrl_usbotg_2: usbotggrp-2 {
			fsl,pins = <
				MX6QDL_PAD_ENET_RX_ER__USB_OTG_ID 0x17059
			>;
		};
	};

	usbh2 {
		pinctrl_usbh2_1: usbh2grp-1 {
			fsl,pins = <
				MX6QDL_PAD_RGMII_TXC__USB_H2_DATA      0x40013030
				MX6QDL_PAD_RGMII_TX_CTL__USB_H2_STROBE 0x40013030
			>;
		};

		pinctrl_usbh2_2: usbh2grp-2 {
			fsl,pins = <
				MX6QDL_PAD_RGMII_TX_CTL__USB_H2_STROBE 0x40017030
			>;
		};
	};

	usbh3 {
		pinctrl_usbh3_1: usbh3grp-1 {
			fsl,pins = <
				MX6QDL_PAD_RGMII_RX_CTL__USB_H3_DATA 0x40013030
				MX6QDL_PAD_RGMII_RXC__USB_H3_STROBE  0x40013030
			>;
		};

		pinctrl_usbh3_2: usbh3grp-2 {
			fsl,pins = <
				MX6QDL_PAD_RGMII_RXC__USB_H3_STROBE 0x40017030
			>;
		};
	};

	usdhc1 {
		pinctrl_usdhc1_1: usdhc1grp-1 {
			fsl,pins = <
				MX6QDL_PAD_SD1_CMD__SD1_CMD    0x17071
				MX6QDL_PAD_SD1_CLK__SD1_CLK    0x10071
				MX6QDL_PAD_SD1_DAT0__SD1_DATA0 0x17071
				MX6QDL_PAD_SD1_DAT1__SD1_DATA1 0x17071
				MX6QDL_PAD_SD1_DAT2__SD1_DATA2 0x17071
				MX6QDL_PAD_SD1_DAT3__SD1_DATA3 0x17071
			>;
		};
	};

	usdhc2 {
		pinctrl_usdhc2_1: usdhc2grp-1 {
			fsl,pins = <
				MX6QDL_PAD_SD2_CMD__SD2_CMD    0x17059
				MX6QDL_PAD_SD2_CLK__SD2_CLK    0x10059
				MX6QDL_PAD_SD2_DAT0__SD2_DATA0 0x17059
				MX6QDL_PAD_SD2_DAT1__SD2_DATA1 0x17059
				MX6QDL_PAD_SD2_DAT2__SD2_DATA2 0x17059
				MX6QDL_PAD_SD2_DAT3__SD2_DATA3 0x17059
				MX6QDL_PAD_NANDF_D4__SD2_DATA4 0x17059
				MX6QDL_PAD_NANDF_D5__SD2_DATA5 0x17059
				MX6QDL_PAD_NANDF_D6__SD2_DATA6 0x17059
				MX6QDL_PAD_NANDF_D7__SD2_DATA7 0x17059
			>;
		};

		pinctrl_usdhc2_2: usdhc2grp-2 {
			fsl,pins = <
				MX6QDL_PAD_SD2_CMD__SD2_CMD    0x17059
				MX6QDL_PAD_SD2_CLK__SD2_CLK    0x10059
				MX6QDL_PAD_SD2_DAT0__SD2_DATA0 0x17059
				MX6QDL_PAD_SD2_DAT1__SD2_DATA1 0x17059
				MX6QDL_PAD_SD2_DAT2__SD2_DATA2 0x17059
				MX6QDL_PAD_SD2_DAT3__SD2_DATA3 0x17059
			>;
		};
	};

	usdhc3 {
		pinctrl_usdhc3_1: usdhc3grp-1 {
			fsl,pins = <
				MX6QDL_PAD_SD3_CMD__SD3_CMD    0x17059
				MX6QDL_PAD_SD3_CLK__SD3_CLK    0x10059
				MX6QDL_PAD_SD3_DAT0__SD3_DATA0 0x17059
				MX6QDL_PAD_SD3_DAT1__SD3_DATA1 0x17059
				MX6QDL_PAD_SD3_DAT2__SD3_DATA2 0x17059
				MX6QDL_PAD_SD3_DAT3__SD3_DATA3 0x17059
				MX6QDL_PAD_SD3_DAT4__SD3_DATA4 0x17059
				MX6QDL_PAD_SD3_DAT5__SD3_DATA5 0x17059
				MX6QDL_PAD_SD3_DAT6__SD3_DATA6 0x17059
				MX6QDL_PAD_SD3_DAT7__SD3_DATA7 0x17059
			>;
		};

		pinctrl_usdhc3_1_100mhz: usdhc3grp-1-100mhz { /* 100Mhz */
			fsl,pins = <
				MX6QDL_PAD_SD3_CMD__SD3_CMD 0x170B9
				MX6QDL_PAD_SD3_CLK__SD3_CLK 0x100B9
				MX6QDL_PAD_SD3_DAT0__SD3_DATA0 0x170B9
				MX6QDL_PAD_SD3_DAT1__SD3_DATA1 0x170B9
				MX6QDL_PAD_SD3_DAT2__SD3_DATA2 0x170B9
				MX6QDL_PAD_SD3_DAT3__SD3_DATA3 0x170B9
				MX6QDL_PAD_SD3_DAT4__SD3_DATA4 0x170B9
				MX6QDL_PAD_SD3_DAT5__SD3_DATA5 0x170B9
				MX6QDL_PAD_SD3_DAT6__SD3_DATA6 0x170B9
				MX6QDL_PAD_SD3_DAT7__SD3_DATA7 0x170B9
			>;
		};

		pinctrl_usdhc3_1_200mhz: usdhc3grp-1-200mhz { /* 200Mhz */
			fsl,pins = <
				MX6QDL_PAD_SD3_CMD__SD3_CMD 0x170F9
				MX6QDL_PAD_SD3_CLK__SD3_CLK 0x100F9
				MX6QDL_PAD_SD3_DAT0__SD3_DATA0 0x170F9
				MX6QDL_PAD_SD3_DAT1__SD3_DATA1 0x170F9
				MX6QDL_PAD_SD3_DAT2__SD3_DATA2 0x170F9
				MX6QDL_PAD_SD3_DAT3__SD3_DATA3 0x170F9
				MX6QDL_PAD_SD3_DAT4__SD3_DATA4 0x170F9
				MX6QDL_PAD_SD3_DAT5__SD3_DATA5 0x170F9
				MX6QDL_PAD_SD3_DAT6__SD3_DATA6 0x170F9
				MX6QDL_PAD_SD3_DAT7__SD3_DATA7 0x170F9
			>;
		};

		pinctrl_usdhc3_2: usdhc3grp-2 {
			fsl,pins = <
				MX6QDL_PAD_SD3_CMD__SD3_CMD    0x17059
				MX6QDL_PAD_SD3_CLK__SD3_CLK    0x10059
				MX6QDL_PAD_SD3_DAT0__SD3_DATA0 0x17059
				MX6QDL_PAD_SD3_DAT1__SD3_DATA1 0x17059
				MX6QDL_PAD_SD3_DAT2__SD3_DATA2 0x17059
				MX6QDL_PAD_SD3_DAT3__SD3_DATA3 0x17059
			>;
		};
	};

	usdhc4 {
		pinctrl_usdhc4_1: usdhc4grp-1 {
			fsl,pins = <
				MX6QDL_PAD_SD4_CMD__SD4_CMD    0x17059
				MX6QDL_PAD_SD4_CLK__SD4_CLK    0x10059
				MX6QDL_PAD_SD4_DAT0__SD4_DATA0 0x17059
				MX6QDL_PAD_SD4_DAT1__SD4_DATA1 0x17059
				MX6QDL_PAD_SD4_DAT2__SD4_DATA2 0x17059
				MX6QDL_PAD_SD4_DAT3__SD4_DATA3 0x17059
				MX6QDL_PAD_SD4_DAT4__SD4_DATA4 0x17059
				MX6QDL_PAD_SD4_DAT5__SD4_DATA5 0x17059
				MX6QDL_PAD_SD4_DAT6__SD4_DATA6 0x17059
				MX6QDL_PAD_SD4_DAT7__SD4_DATA7 0x17059
			>;
		};

		pinctrl_usdhc4_2: usdhc4grp-2 {
			fsl,pins = <
				MX6QDL_PAD_SD4_CMD__SD4_CMD    0x17059
				MX6QDL_PAD_SD4_CLK__SD4_CLK    0x10059
				MX6QDL_PAD_SD4_DAT0__SD4_DATA0 0x17059
				MX6QDL_PAD_SD4_DAT1__SD4_DATA1 0x17059
				MX6QDL_PAD_SD4_DAT2__SD4_DATA2 0x17059
				MX6QDL_PAD_SD4_DAT3__SD4_DATA3 0x17059
			>;
		};
	};

	weim {
		pinctrl_weim_cs0_1: weim_cs0grp-1 {
			fsl,pins = <
				MX6QDL_PAD_EIM_CS0__EIM_CS0_B   0xb0b1
			>;
		};

		pinctrl_weim_nor_1: weim_norgrp-1 {
			fsl,pins = <
				MX6QDL_PAD_EIM_OE__EIM_OE_B     0xb0b1
				MX6QDL_PAD_EIM_RW__EIM_RW       0xb0b1
				MX6QDL_PAD_EIM_WAIT__EIM_WAIT_B 0xb060
				/* data */
				MX6QDL_PAD_EIM_D16__EIM_DATA16 0x1b0b0
				MX6QDL_PAD_EIM_D17__EIM_DATA17 0x1b0b0
				MX6QDL_PAD_EIM_D18__EIM_DATA18 0x1b0b0
				MX6QDL_PAD_EIM_D19__EIM_DATA19 0x1b0b0
				MX6QDL_PAD_EIM_D20__EIM_DATA20 0x1b0b0
				MX6QDL_PAD_EIM_D21__EIM_DATA21 0x1b0b0
				MX6QDL_PAD_EIM_D22__EIM_DATA22 0x1b0b0
				MX6QDL_PAD_EIM_D23__EIM_DATA23 0x1b0b0
				MX6QDL_PAD_EIM_D24__EIM_DATA24 0x1b0b0
				MX6QDL_PAD_EIM_D25__EIM_DATA25 0x1b0b0
				MX6QDL_PAD_EIM_D26__EIM_DATA26 0x1b0b0
				MX6QDL_PAD_EIM_D27__EIM_DATA27 0x1b0b0
				MX6QDL_PAD_EIM_D28__EIM_DATA28 0x1b0b0
				MX6QDL_PAD_EIM_D29__EIM_DATA29 0x1b0b0
				MX6QDL_PAD_EIM_D30__EIM_DATA30 0x1b0b0
				MX6QDL_PAD_EIM_D31__EIM_DATA31 0x1b0b0
				/* address */
				MX6QDL_PAD_EIM_A23__EIM_ADDR23 0xb0b1
				MX6QDL_PAD_EIM_A22__EIM_ADDR22 0xb0b1
				MX6QDL_PAD_EIM_A21__EIM_ADDR21 0xb0b1
				MX6QDL_PAD_EIM_A20__EIM_ADDR20 0xb0b1
				MX6QDL_PAD_EIM_A19__EIM_ADDR19 0xb0b1
				MX6QDL_PAD_EIM_A18__EIM_ADDR18 0xb0b1
				MX6QDL_PAD_EIM_A17__EIM_ADDR17 0xb0b1
				MX6QDL_PAD_EIM_A16__EIM_ADDR16 0xb0b1
				MX6QDL_PAD_EIM_DA15__EIM_AD15  0xb0b1
				MX6QDL_PAD_EIM_DA14__EIM_AD14  0xb0b1
				MX6QDL_PAD_EIM_DA13__EIM_AD13  0xb0b1
				MX6QDL_PAD_EIM_DA12__EIM_AD12  0xb0b1
				MX6QDL_PAD_EIM_DA11__EIM_AD11  0xb0b1
				MX6QDL_PAD_EIM_DA10__EIM_AD10  0xb0b1
				MX6QDL_PAD_EIM_DA9__EIM_AD09   0xb0b1
				MX6QDL_PAD_EIM_DA8__EIM_AD08   0xb0b1
				MX6QDL_PAD_EIM_DA7__EIM_AD07   0xb0b1
				MX6QDL_PAD_EIM_DA6__EIM_AD06   0xb0b1
				MX6QDL_PAD_EIM_DA5__EIM_AD05   0xb0b1
				MX6QDL_PAD_EIM_DA4__EIM_AD04   0xb0b1
				MX6QDL_PAD_EIM_DA3__EIM_AD03   0xb0b1
				MX6QDL_PAD_EIM_DA2__EIM_AD02   0xb0b1
				MX6QDL_PAD_EIM_DA1__EIM_AD01   0xb0b1
				MX6QDL_PAD_EIM_DA0__EIM_AD00   0xb0b1
			>;
		};
	};

	imx6qdl-edm1-cf {
		pinctrl_hog_1: hoggrp-1 {
			fsl,pins = <
				MX6QDL_PAD_GPIO_0__CCM_CLKO1     	0x130b0
				MX6QDL_PAD_EIM_D22__USB_OTG_PWR		0x80000000	/* USB Power Enable */
				MX6QDL_PAD_GPIO_2__GPIO1_IO02		0x80000000	/* USDHC1 CD */
				MX6QDL_PAD_GPIO_0__CCM_CLKO1		0x000b0		/* SGTL5000 sys_mclk */
				MX6QDL_PAD_GPIO_6__GPIO1_IO06		0x0b0b0		/* ov5640 mipi powerdown */
				MX6QDL_PAD_GPIO_3__CCM_CLKO2		0x000b0		/* ov5640 mclk */
				MX6QDL_PAD_EIM_D29__GPIO3_IO29   	0x80000000
				MX6QDL_PAD_CSI0_VSYNC__GPIO5_IO21	0x80000000	/* bluetooth-on */
				MX6QDL_PAD_CSI0_DAT12__GPIO5_IO30	0x80000000	/* bluetooth-reg-on */
				MX6QDL_PAD_ENET_TXD0__GPIO1_IO30	0x80000000	/* bluetooth-wake */
				MX6QDL_PAD_CSI0_DATA_EN__GPIO5_IO20     0x80000000	/* bluetooth-host-wake */
				MX6QDL_PAD_CSI0_DAT13__GPIO5_IO31	0x0f0b0		/* wifi-ref-on */
				MX6QDL_PAD_CSI0_DAT14__GPIO6_IO00	0x0f0b0		/* wifi-rst-n */
				MX6QDL_PAD_ENET_RXD1__GPIO1_IO26	0x000b0		/* wifi-reg-on */
				MX6QDL_PAD_ENET_TXD1__GPIO1_IO29	0x80000000	/* wifi-host-wake */
			>;
		};

	        pinctrl_spdif: spdifgrp {
	                fsl,pins = <
				MX6QDL_PAD_ENET_RXD0__SPDIF_OUT                 0x1b0b0
			>;
	        };
	};
	gpio {
		pinctrl_gpio: gpiogrp {
			fsl,pins = <
				MX6QDL_PAD_CSI0_DAT19__GPIO6_IO05  0x4001b0b5 /* GPIO6_05 EDM pin 255 */
				MX6QDL_PAD_CSI0_DAT16__GPIO6_IO02  0x4001b0b5 /* GPIO6_02 EDM pin 256 */
				MX6QDL_PAD_CSI0_DAT18__GPIO6_IO04  0x4001b0b5 /* GPIO6_04 EDM pin 258 */
				MX6QDL_PAD_EIM_D27__GPIO3_IO27     0x4001b0b5 /* GPIO3_27 EDM pin 259 */
				MX6QDL_PAD_EIM_D26__GPIO3_IO26     0x4001b0b5 /* GPIO3_26 EDM pin 260 */
				MX6QDL_PAD_EIM_BCLK__GPIO6_IO31    0x4001b0b5 /* GPIO3_31 EDM pin 261 */
				MX6QDL_PAD_CSI0_DAT17__GPIO6_IO03  0x4001b0b5 /* GPIO6_03 EDM pin 262 */
				MX6QDL_PAD_ENET_RX_ER__GPIO1_IO24  0x4001b0b5 /* GPIO1_24 EDM pin 263 */
				MX6QDL_PAD_GPIO_19__GPIO4_IO05     0x4001b0b5 /* GPIO1_05 EDM touch irq */
				MX6QDL_PAD_SD3_RST__GPIO7_IO08     0x4001b0b5 /* GPIO7_08 EDM touch irq */
			>;
		};
	};
	pwm4 {
		pinctrl_pwm4_1: pwm4grp-1 {
			fsl,pins = <
				MX6QDL_PAD_SD4_DAT2__PWM4_OUT 0x1b0b1
			>;
		};
	};

	pcie-reset {
		pinctrl_pcie_reset: pciegrp {
			fsl,pins = <
				MX6QDL_PAD_EIM_D31__GPIO3_IO31 0x130b0			/* PCIE_nRST */
			>;
		};
	};
};

&flexcan1 {
	pinctrl-names = "default";
	pinctrl-0 = <&pinctrl_flexcan1_1>;
	trx-stby-gpio = <&gpio7 13 0>;
	status = "disabled";
};

&flexcan2 {
	pinctrl-names = "default";
	pinctrl-0 = <&pinctrl_flexcan2_1>;
	trx-stby-gpio = <&gpio1 7 0>;
	status = "disabled";
};

&ldb {
	status = "okay";
	lvds-channel@0 {
		fsl,data-mapping = "spwg";
		fsl,data-width = <24>;
		primary;
		status = "okay";

		display-timings {
			native-mode = <&timing0>;
			timing0: hj070na {
				clock-frequency = <51000000>;
				hactive = <1024>;
				vactive = <600>;
				hback-porch = <90>;
				hfront-porch = <120>;
				vback-porch = <1>;
				vfront-porch = <1>;
				hsync-len = <100>;
				vsync-len = <33>;
			};
		};
	};
};

&mipi_csi {
	ipu_id = <0>;
	csi_id = <0>;
	v_channel = <0>;
	lanes = <2>;
	status = "okay";
};

&pcie {
	pinctrl-0 = <&pinctrl_pcie_reset>;
	reset-gpio = <&gpio3 31 0>;
	status = "okay";
};

&pwm3 {
	pinctrl-names = "default";
	pinctrl-0 = <&pinctrl_pwm3_1>;
	status = "okay";
};

&pwm4 {
	pinctrl-names = "default";
	pinctrl-0 = <&pinctrl_pwm4_1>;
	status = "okay";
};

&spdif {
        pinctrl-names = "default";
        pinctrl-0 = <&pinctrl_spdif>;
	assigned-clocks = <&clks IMX6QDL_CLK_SPDIF_SEL>,
			  <&clks IMX6QDL_CLK_SPDIF_PODF>;
	assigned-clock-parents = <&clks IMX6QDL_CLK_PLL3_PFD3_454M>;
	assigned-clock-rates = <0>, <227368421>;
	status = "okay";
};

&ssi1 {
	fsl,mode = "i2s-slave";
	status = "okay";
};

&uart1 {
	pinctrl-names = "default";
	pinctrl-0 = <&pinctrl_uart1_2>;
	fsl,uart-has-rtscts;
	status = "okay";
};

&uart2 {
	pinctrl-names = "default";
	pinctrl-0 = <&pinctrl_uart2_2>;
	fsl,uart-has-rtscts;
	status = "okay";
};

&uart3 {
        pinctrl-names = "default";
        pinctrl-0 = <&pinctrl_uart3_2>;
        fsl,uart-has-rtscts;
        status = "okay";
};

&usbh1 {
	status = "okay";
};

&usbotg {
	vbus-supply = <&reg_usb_otg_vbus>;
	pinctrl-names = "default";
	pinctrl-0 = <&pinctrl_usbotg_1>;
	disable-over-current;
	dr_mode = "otg";
	status = "okay";
};

&usdhc1 {  /* Baseboard microSD slot */
	pinctrl-names = "default";
	pinctrl-0 = <&pinctrl_usdhc1_1>;
	bus-width = <4>;
	vmmc-supply = <&reg_3p3v>;
	cd-gpios = <&gpio1 2 0>;
	status = "okay";
};

&usdhc2 {  /* Broadcom Wifi/BT  */
	pinctrl-names = "default";
	pinctrl-0 = <&pinctrl_usdhc2_2>;
	bus-width = <4>;
	//non-removable;
	vmmc-supply = <&reg_3p3v>;
	keep-power-in-suspend;
	status = "okay";
};

&usdhc3 { /* Module i-Nand */
	pinctrl-names = "default";
	pinctrl-0 = <&pinctrl_usdhc3_1>;
	bus-width = <8>;
	non-removable;
	vmmc-supply = <&reg_3p3v>;
	status = "okay";
};

&ecspi1 {
	fsl,spi-num-chipselects = <1>;
	cs-gpios = <&gpio2 30 0>; /* EIM_EB2 */
	pinctrl-names = "default";
	pinctrl-0 = <&pinctrl_ecspi1_1>;
	status = "okay";

	ads7846@0 {
		reg = <0>;	/* CS0 */
		compatible = "ti,ads7846";
		interrupt-parent = <&gpio4>;
		interrupts = <5 0>;
		spi-max-frequency = <1000000>;
		pendown-gpio = <&gpio4 5 0>; /* GPIO_19 */
		vcc-supply = <&reg_3v3on>;

		ti,x-min = /bits/ 16 <0>;
		ti,x-max = /bits/ 16 <4095>;
		ti,y-min = /bits/ 16 <0>;
		ti,y-max = /bits/ 16 <4095>;
		ti,pressure-max = /bits/ 16 <1024>;
		ti,x-plate-ohms = /bits/ 16 <90>;
		ti,y-plate-ohms = /bits/ 16 <90>;
		ti,debounce-max = /bits/ 16 <70>;
		ti,debounce-tol = /bits/ 16 <3>;
		ti,debounce-rep = /bits/ 16 <2>;
		ti,settle-delay-usec = /bits/ 16 <150>;

		linux,wakeup;
	};
};
